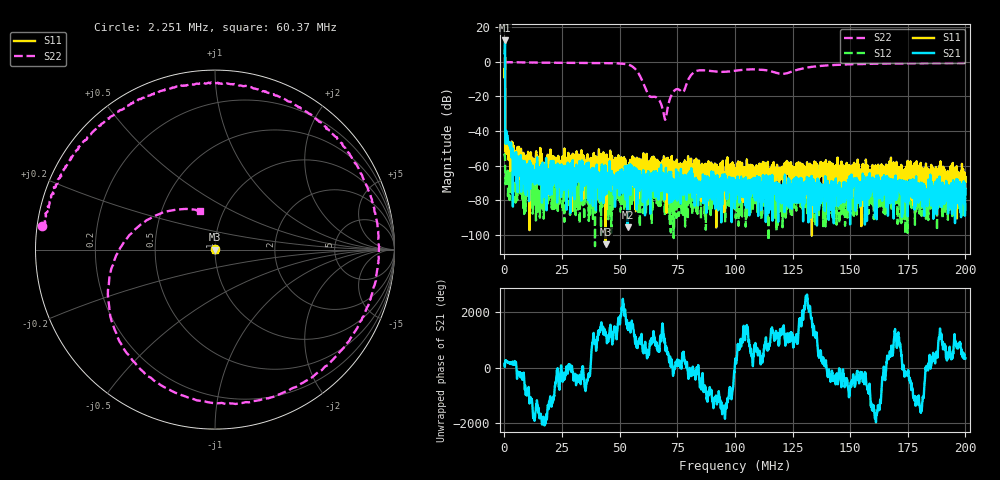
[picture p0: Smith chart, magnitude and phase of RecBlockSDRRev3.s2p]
! 19-Feb-26 3:23:24 PM
! E:\VNA_MEASUREMENTS\RECBLOCK\RECBLOCKSDRREV3.S2P
! CHANNEL.1
! TR.MEASUREMENT
! CORRECTED.DATA
# GHZ S RI R 50.0
! FREQ.GHZ  S11RE  S11IM  S21RE  S21IM  S12RE  S12IM  S22RE  S22IM
!; PortSelection: Port_12
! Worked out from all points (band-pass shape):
!   2000 points, 50 kHz to 200 MHz, reference 50 ohm
!   highest |S21| = 12.24 dB at 250 kHz (marker M1); lowest = -95.4 dB at 53.46 MHz (marker M2)
!   |S21| within 3 dB of the highest: 159.3 kHz to 255.5 kHz (96.25 kHz wide, 46.4 % of centre)
!   lowest |S11| = -105.3 dB at 43.86 MHz (marker M3), VSWR 1.00, Z = 50 + j0.00052 ohm
!   |S11| at or under -10 dB: 278.8 kHz to end of sweep
!   |S22| runs from -33.5 to -0.2 dB; largest |S21 - S12| = 4.1
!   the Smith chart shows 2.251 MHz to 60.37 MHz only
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5e-05  0.449 0.4175  -1.37 1.093  0.000847 0.00176  -0.9532 0.00245
0.00025005  1.352 0.0566  -3.108 2.663  0.000777 0.0014  -0.9768 0.0153
0.001550375  0.00228 0.00178  -0.00423 -0.00274  -0.000111 1.76e-05  -0.9549 0.0893
0.006251551  -0.00262 -0.00233  -0.00112 0.000568  -0.000267 2.33e-05  -0.8879 0.3484
0.03345835  0.000651 0.00053  0.000102 0.000696  7.34e-05 0.000163  0.5511 0.7389
0.04386096  1.6e-06 5.2e-06  -0.000709 0.000131  8.23e-05 -0.00014  0.9016 -0.1277
0.05346336  0.000807 0.00018  1.03e-05 -1.34e-05  0.00015 -0.00015  -0.2013 -0.8057
0.05916478  -0.000648 0.000188  -0.000295 3.86e-05  -0.000173 -0.000121  -0.275 0.2113
0.06676668  -0.000886 0.00015  0.000363 0.000109  0.000174 9.93e-05  -0.0149 -0.0826
0.06986746  -9.2e-06 -0.00055  0.000338 -0.000324  -0.000166 0.000242  0.00786 -0.0206
0.08127031  0.000168 1.54e-05  -2.74e-05 0.000158  -0.000182 4.75e-05  -0.2529 -0.3568
0.08917229  -0.000228 -0.000825  0.000241 -0.000286  -4.9e-05 -0.00028  0.0132 0.5413
0.09437359  -0.000528 -0.001  -9.36e-05 -0.000428  -4.6e-05 9.86e-05  0.5075 -0.0441
0.100075  -8.14e-05 -0.000281  -0.00012 -0.000176  -0.000201 -4.97e-05  -0.1303 -0.5301
0.1103776  0.000116 0.000304  -0.000131 1.69e-05  -3.17e-05 9.94e-05  -0.1626 0.5704
0.116079  -0.000611 -0.000826  0.000187 3.68e-05  0.000222 0.000175  0.5064 0.1131
0.1207802  -0.000383 -0.000383  9.58e-05 -0.000247  9.25e-05 -6.54e-05  -0.0248 -0.445
0.1257814  -0.000131 6.81e-05  -0.000174 -0.000254  -0.0001 -0.000103  -0.5241 0.1581
0.1333833  7e-06 6.6e-06  2.91e-05 -7.07e-05  0.00028 0.000175  0.1786 0.6873
0.1460865  0.000504 -0.000237  -0.000118 4.3e-06  6.12e-05 2.16e-05  0.8188 -0.0362
0.1666917  0.000315 -0.00014  0.000103 -0.000167  0.000221 7.76e-05  0.2545 -0.8444
0.2  -0.000151 -0.000161  0.00014 -5.31e-05  -4e-06 -5.05e-05  -0.6957 -0.5889
